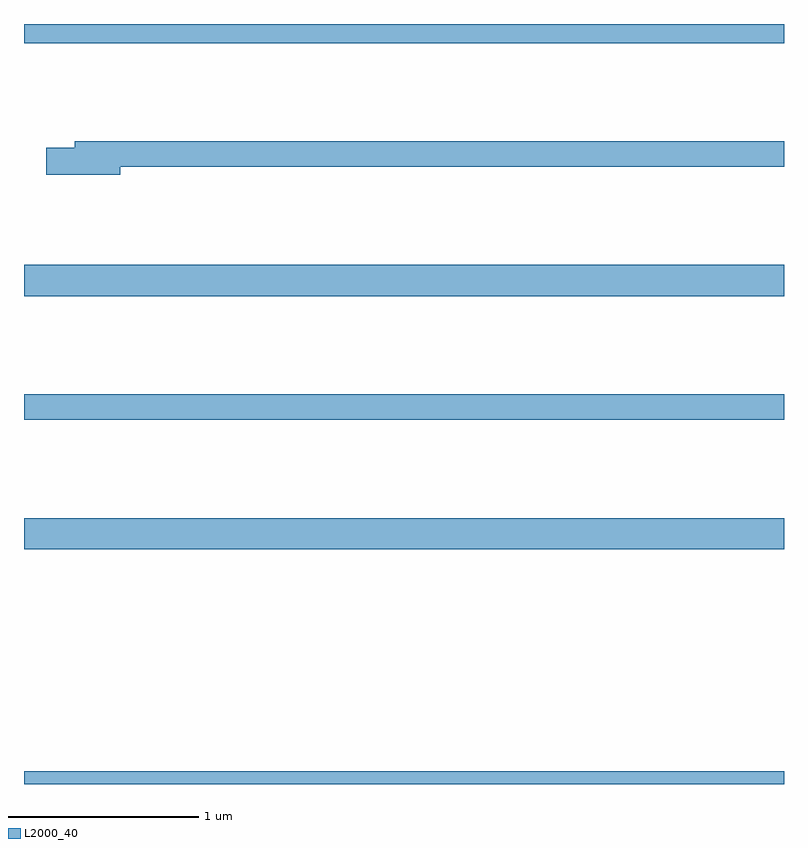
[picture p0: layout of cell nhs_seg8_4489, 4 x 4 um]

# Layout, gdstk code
import gdstk
lib = gdstk.Library(unit=1e-6, precision=1e-09)
def R(c, l, rs):  # rectangles x0, y0, x1, y1
    for r in rs: c.add(gdstk.rectangle(r[:2], r[2:], *l))
def P(c, l, *ps):  # polygons
    for p in ps: c.add(gdstk.Polygon(p, *l))
L2000_40 = (2000, 40)

nhs_seg8_4489 = lib.new_cell('nhs_seg8_4489')
R(nhs_seg8_4489, L2000_40, [(383,1145.9,387,1145.968), (383,1147.136,387,1147.3), (383,1147.816,387,1147.952), (383,1148.468,387,1148.632), (383,1149.8,387,1149.9)])
P(nhs_seg8_4489, L2000_40, [(383.506,1149.148),(387,1149.148),(387,1149.284),(383.267,1149.284),(383.267,1149.248),(383.118,1149.248),(383.118,1149.106),(383.506,1149.106)])

lib.write_gds('nhs_seg8_4489.gds')
